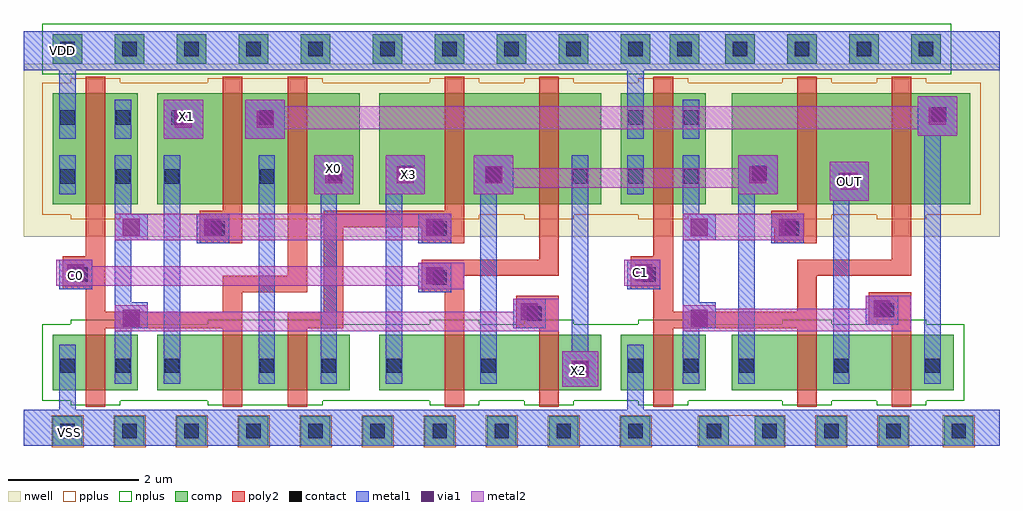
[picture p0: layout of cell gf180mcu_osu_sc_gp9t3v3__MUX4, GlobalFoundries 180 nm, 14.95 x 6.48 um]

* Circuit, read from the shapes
.subckt gf180mcu_osu_sc_gp9t3v3__MUX4 C0 C1 OUT VDD VSS X0 X1 X2 X3
XM1 n1 C0 VSS VSS nfet_03v3 w=0.85u l=0.3u
XM2 n2 C0 X1 VSS nfet_03v3 w=0.85u l=0.3u
XM3 X0 n1 n2 VSS nfet_03v3 w=0.85u l=0.3u
XM4 n3 C0 X3 VSS nfet_03v3 w=0.85u l=0.3u
XM5 X2 n1 n3 VSS nfet_03v3 w=0.85u l=0.3u
XM6 n4 C1 VSS VSS nfet_03v3 w=0.85u l=0.3u
XM7 OUT C1 n3 VSS nfet_03v3 w=0.85u l=0.3u
XM8 n2 n4 OUT VSS nfet_03v3 w=0.85u l=0.3u
XM9 n1 C0 VDD VDD pfet_03v3 w=1.7u l=0.3u
XM10 n2 n1 X1 VDD pfet_03v3 w=1.7u l=0.3u
XM11 X0 C0 n2 VDD pfet_03v3 w=1.7u l=0.3u
XM12 n3 n1 X3 VDD pfet_03v3 w=1.7u l=0.3u
XM13 X2 C0 n3 VDD pfet_03v3 w=1.7u l=0.3u
XM14 n4 C1 VDD VDD pfet_03v3 w=1.7u l=0.3u
XM15 OUT n4 n3 VDD pfet_03v3 w=1.7u l=0.3u
XM16 n2 C1 OUT VDD pfet_03v3 w=1.7u l=0.3u
.ends

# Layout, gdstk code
import gdstk
lib = gdstk.Library(unit=1e-6, precision=1e-09)
def R(c, l, rs):  # rectangles x0, y0, x1, y1
    for r in rs: c.add(gdstk.rectangle(r[:2], r[2:], *l))
def A(c, l, x, y, w, h, nx, ny, dx, dy):  # array of equal rectangles
    R(c, l, [(x+i*dx, y+j*dy, x+i*dx+w, y+j*dy+h) for i in range(nx) for j in range(ny)])
nwell = (21, 0)
comp = (22, 0)
poly2 = (30, 0)
pplus = (31, 0)
nplus = (32, 0)
contact = (33, 0)
metal1 = (34, 0)
via1 = (35, 0)
metal2 = (36, 0)

gf180mcu_osu_sc_gp9t3v3_ = lib.new_cell('gf180mcu_osu_sc_gp9t3v3__MUX4')
A(gf180mcu_osu_sc_gp9t3v3_, nwell, -0.35, 4.8, 0.45, 0.45, 5, 1, 0.95, 0)
A(gf180mcu_osu_sc_gp9t3v3_, nwell, 4.55, 4.8, 0.45, 0.45, 5, 1, 0.95, 0)
A(gf180mcu_osu_sc_gp9t3v3_, nwell, 9.95, 4.8, 0.45, 0.45, 4, 1, 0.95, 0)
R(gf180mcu_osu_sc_gp9t3v3_, nwell, [(-0.8,2.15,14.15,4.8), (9.1,4.8,9.55,5.25)])
A(gf180mcu_osu_sc_gp9t3v3_, comp, -0.35, -1.05, 0.45, 0.45, 9, 1, 0.95, 0)
A(gf180mcu_osu_sc_gp9t3v3_, comp, 10.4, -1.05, 0.45, 0.45, 3, 1, 0.95, 0)
A(gf180mcu_osu_sc_gp9t3v3_, comp, -0.35, 4.8, 0.45, 0.45, 5, 1, 0.95, 0)
A(gf180mcu_osu_sc_gp9t3v3_, comp, 4.55, 4.8, 0.45, 0.45, 5, 1, 0.95, 0)
A(gf180mcu_osu_sc_gp9t3v3_, comp, 9.95, 4.8, 0.45, 0.45, 4, 1, 0.95, 0)
R(gf180mcu_osu_sc_gp9t3v3_, comp, [(8.35,-1.05,8.8,-0.6), (9.55,-1.05,10,-0.6), (13.3,-1.05,13.75,-0.6), (-0.35,-0.2,0.95,0.65), (1.25,-0.2,4.2,0.65), (4.65,-0.2,8.05,0.65), (8.35,-0.2,9.65,0.65), (10.05,-0.2,13.45,0.65), (-0.35,2.65,0.95,4.35), (1.25,2.65,4.35,4.35), (4.65,2.65,8.05,4.35), (8.35,2.65,9.65,4.35), (10.05,2.65,13.7,4.35), (9.1,4.8,9.55,5.25)])
R(gf180mcu_osu_sc_gp9t3v3_, poly2, [(0.15,-0.45,0.45,0.75), (2.25,-0.45,2.55,0.75), (3.25,-0.45,3.55,0.75), (5.65,-0.45,5.95,1.3), (7.1,-0.45,7.4,0.75), (8.85,-0.45,9.15,0.75), (11.05,-0.45,11.35,0.75), (12.5,-0.45,12.8,0.8), (0.15,0.75,2.55,1), (3.25,0.75,4.1,1), (6.75,0.75,7.4,1.25), (8.85,0.75,11.35,1), (12.15,0.8,12.8,1.3), (0.15,1,0.45,1.35), (2.25,1,2.55,1.3), (3.8,1,4.1,2.3), (8.85,1,9.15,1.35), (11.05,1,11.35,1.55), (2.25,1.3,3.55,1.55), (5.3,1.3,5.95,1.55), (-0.2,1.35,0.45,1.85), (8.5,1.35,9.15,1.85), (3.25,1.55,3.55,4.6), (5.3,1.55,7.4,1.8), (11.05,1.55,12.8,1.8), (7.1,1.8,7.4,4.6), (12.5,1.8,12.8,4.6), (0.15,1.85,0.45,4.6), (8.85,1.85,9.15,4.6), (1.9,2.05,2.55,2.55), (5.3,2.05,5.95,2.3), (10.7,2.05,11.35,2.3), (3.8,2.3,5.95,2.55), (10.65,2.3,11.35,2.55), (2.25,2.55,2.55,4.6), (5.65,2.55,5.95,4.6), (11.05,2.55,11.35,4.6)])
A(gf180mcu_osu_sc_gp9t3v3_, pplus, -0.37, -1.07, 0.49, 0.49, 9, 1, 0.95, 0)
R(gf180mcu_osu_sc_gp9t3v3_, pplus, [(8.33,-1.07,8.82,-0.58), (9.53,-1.07,10.87,-0.58), (11.33,-1.07,11.82,-0.58), (12.28,-1.07,12.77,-0.58), (13.28,-1.07,13.77,-0.58), (-0.08,2.42,0.68,2.49), (2.02,2.42,3.78,2.49), (5.42,2.42,6.18,2.49), (6.87,2.42,7.63,2.49), (8.62,2.42,9.38,2.49), (10.82,2.42,11.58,2.49), (12.27,2.42,13.03,2.49), (-0.51,2.49,13.86,4.51), (-0.08,4.51,0.68,4.58), (2.02,4.51,3.78,4.58), (5.42,4.51,6.18,4.58), (6.87,4.51,7.63,4.58), (8.62,4.51,9.38,4.58), (10.82,4.51,11.58,4.58), (12.27,4.51,13.03,4.58)])
R(gf180mcu_osu_sc_gp9t3v3_, nplus, [(-0.08,-0.43,0.68,-0.36), (2.02,-0.43,3.78,-0.36), (5.42,-0.43,6.18,-0.36), (6.87,-0.43,7.63,-0.36), (8.62,-0.43,9.38,-0.36), (10.82,-0.43,11.58,-0.36), (12.27,-0.43,13.03,-0.36), (-0.51,-0.36,13.61,0.81), (-0.08,0.81,0.68,0.88), (2.02,0.81,3.78,0.88), (5.42,0.81,6.18,0.88), (6.87,0.81,7.63,0.88), (8.62,0.81,9.38,0.88), (10.82,0.81,11.58,0.88), (12.27,0.81,13.03,0.88), (-0.51,4.64,13.41,5.41)])
A(gf180mcu_osu_sc_gp9t3v3_, contact, -0.235, -0.935, 0.22, 0.22, 9, 1, 0.95, 0)
A(gf180mcu_osu_sc_gp9t3v3_, contact, 10.515, -0.935, 0.22, 0.22, 3, 1, 0.95, 0)
A(gf180mcu_osu_sc_gp9t3v3_, contact, 8.465, 0.065, 0.22, 0.22, 3, 1, 0.85, 0)
A(gf180mcu_osu_sc_gp9t3v3_, contact, 7.615, 2.965, 0.22, 0.22, 3, 1, 0.85, 0)
A(gf180mcu_osu_sc_gp9t3v3_, contact, -0.235, 3.865, 0.22, 0.22, 3, 1, 0.85, 0)
A(gf180mcu_osu_sc_gp9t3v3_, contact, -0.235, 4.915, 0.22, 0.22, 5, 1, 0.95, 0)
A(gf180mcu_osu_sc_gp9t3v3_, contact, 4.665, 4.915, 0.22, 0.22, 5, 1, 0.95, 0)
A(gf180mcu_osu_sc_gp9t3v3_, contact, 10.065, 4.915, 0.22, 0.22, 4, 1, 0.95, 0)
R(gf180mcu_osu_sc_gp9t3v3_, contact, [(8.465,-0.935,8.685,-0.715), (9.665,-0.935,9.885,-0.715), (13.415,-0.935,13.635,-0.715), (7.615,0.015,7.835,0.235), (-0.235,0.065,-0.015,0.285), (0.615,0.065,0.835,0.285), (1.365,0.065,1.585,0.285), (2.815,0.065,3.035,0.285), (3.765,0.065,3.985,0.285), (4.765,0.065,4.985,0.285), (6.215,0.065,6.435,0.285), (11.615,0.065,11.835,0.285), (13.015,0.065,13.235,0.285), (6.915,0.865,7.135,1.085), (12.315,0.915,12.535,1.135), (5.465,1.415,5.685,1.635), (-0.035,1.465,0.185,1.685), (8.665,1.465,8.885,1.685), (2.065,2.165,2.285,2.385), (5.465,2.165,5.685,2.385), (10.865,2.165,11.085,2.385), (11.69,2.915,11.91,3.135), (-0.235,2.965,-0.015,3.185), (0.615,2.965,0.835,3.185), (1.365,2.965,1.585,3.185), (2.815,2.965,3.035,3.185), (6.29,2.99,6.51,3.21), (3.865,3.015,4.085,3.235), (4.965,3.015,5.185,3.235), (10.365,3.015,10.585,3.235), (2.815,3.865,3.035,4.085), (8.465,3.865,8.685,4.085), (9.315,3.865,9.535,4.085), (13.115,3.915,13.335,4.135), (9.215,4.915,9.435,5.135)])
R(gf180mcu_osu_sc_gp9t3v3_, metal1, [(-0.8,-1.05,14.15,-0.5), (-0.25,-0.5,0,0.5), (8.45,-0.5,8.7,0.5), (7.45,-0.15,8,0.4), (0.6,-0.1,0.85,0.75), (1.35,-0.1,1.6,3.4), (2.8,-0.1,3.05,3.4), (3.75,-0.1,4,2.8), (4.75,-0.1,5,2.8), (6.2,-0.1,6.45,2.8), (9.3,-0.1,9.55,0.75), (10.15,-0.1,10.4,2.8), (11.6,-0.1,11.85,2.7), (13,-0.1,13.25,3.7), (7.6,0.4,7.85,3.4), (0.6,0.75,1.1,1.15), (6.7,0.75,7.2,1.2), (9.3,0.75,9.8,1.15), (12.1,0.8,12.6,1.25), (0.6,1.15,0.85,2.1), (9.3,1.15,9.55,2.1), (5.25,1.3,5.75,1.75), (-0.25,1.35,0.25,1.8), (8.45,1.35,8.95,1.8), (1.85,2.05,2.35,2.5), (5.25,2.05,5.75,2.5), (10.65,2.05,11.15,2.5), (0.6,2.1,1.1,2.5), (9.3,2.1,9.8,2.5), (0.6,2.5,0.85,3.4), (9.3,2.5,9.55,3.4), (11.55,2.7,12.15,3.3), (-0.25,2.8,0,3.4), (3.65,2.8,4.25,3.4), (4.75,2.8,5.35,3.4), (6.1,2.8,6.7,3.4), (8.45,2.8,8.7,3.4), (10.15,2.8,10.75,3.4), (-0.25,3.65,0,4.7), (0.6,3.65,0.85,4.25), (1.35,3.65,1.95,4.25), (2.6,3.65,3.2,4.25), (8.45,3.65,8.7,4.7), (9.3,3.65,9.55,4.25), (12.9,3.7,13.5,4.3), (-0.8,4.7,14.15,5.3)])
R(gf180mcu_osu_sc_gp9t3v3_, via1, [(7.595,-0.005,7.855,0.255), (0.72,0.77,0.98,1.03), (9.42,0.77,9.68,1.03), (6.82,0.87,7.08,1.13), (12.22,0.92,12.48,1.18), (5.37,1.42,5.63,1.68), (-0.13,1.47,0.13,1.73), (8.57,1.47,8.83,1.73), (0.72,2.17,0.98,2.43), (1.97,2.17,2.23,2.43), (5.37,2.17,5.63,2.43), (9.42,2.17,9.68,2.43), (10.77,2.17,11.03,2.43), (11.72,2.87,11.98,3.13), (3.82,2.97,4.08,3.23), (4.92,2.97,5.18,3.23), (6.27,2.97,6.53,3.23), (10.32,2.97,10.58,3.23), (1.52,3.82,1.78,4.08), (2.77,3.82,3.03,4.08), (13.07,3.87,13.33,4.13)])
R(gf180mcu_osu_sc_gp9t3v3_, metal2, [(7.45,-0.15,8,0.4), (0.6,0.7,7.4,1), (9.3,0.7,12.8,1.05), (0.6,1,1.1,1.1), (6.7,1,7.4,1.2), (9.3,1.05,9.8,1.1), (12.1,1.05,12.8,1.25), (5.25,1.35,5.95,1.4), (-0.3,1.4,5.95,1.7), (8.4,1.4,8.95,1.8), (-0.3,1.7,0.25,1.8), (5.25,1.7,5.95,1.75), (0.6,2.1,5.75,2.5), (9.3,2.1,11.15,2.5), (11.55,2.7,12.15,3.3), (3.65,2.8,4.25,3.4), (4.75,2.8,5.35,3.4), (6.1,2.8,6.7,2.9), (10.15,2.8,10.75,2.9), (6.1,2.9,10.75,3.2), (6.1,3.2,6.7,3.4), (10.15,3.2,10.75,3.4), (1.35,3.65,1.95,4.25), (2.6,3.65,3.2,3.8), (12.9,3.7,13.5,3.8), (2.6,3.8,13.5,4.15), (2.6,4.15,3.2,4.25), (12.9,4.15,13.5,4.3)])
gf180mcu_osu_sc_gp9t3v3_.add(gdstk.Label('VDD', (-0.2,5), layer=34, texttype=0))
gf180mcu_osu_sc_gp9t3v3_.add(gdstk.Label('VSS', (-0.1,-0.85), layer=34, texttype=0))
gf180mcu_osu_sc_gp9t3v3_.add(gdstk.Label('C0', (0,1.55), layer=36, texttype=0))
gf180mcu_osu_sc_gp9t3v3_.add(gdstk.Label('X1', (1.7,4), layer=36, texttype=0))
gf180mcu_osu_sc_gp9t3v3_.add(gdstk.Label('X0', (3.95,3.2), layer=36, texttype=0))
gf180mcu_osu_sc_gp9t3v3_.add(gdstk.Label('X3', (5.1,3.1), layer=36, texttype=0))
gf180mcu_osu_sc_gp9t3v3_.add(gdstk.Label('X2', (7.7,0.1), layer=36, texttype=0))
gf180mcu_osu_sc_gp9t3v3_.add(gdstk.Label('C1', (8.65,1.6), layer=36, texttype=0))
gf180mcu_osu_sc_gp9t3v3_.add(gdstk.Label('OUT', (11.85,3), layer=36, texttype=0))

lib.write_gds('gf180mcu_osu_sc_gp9t3v3__MUX4.gds')
